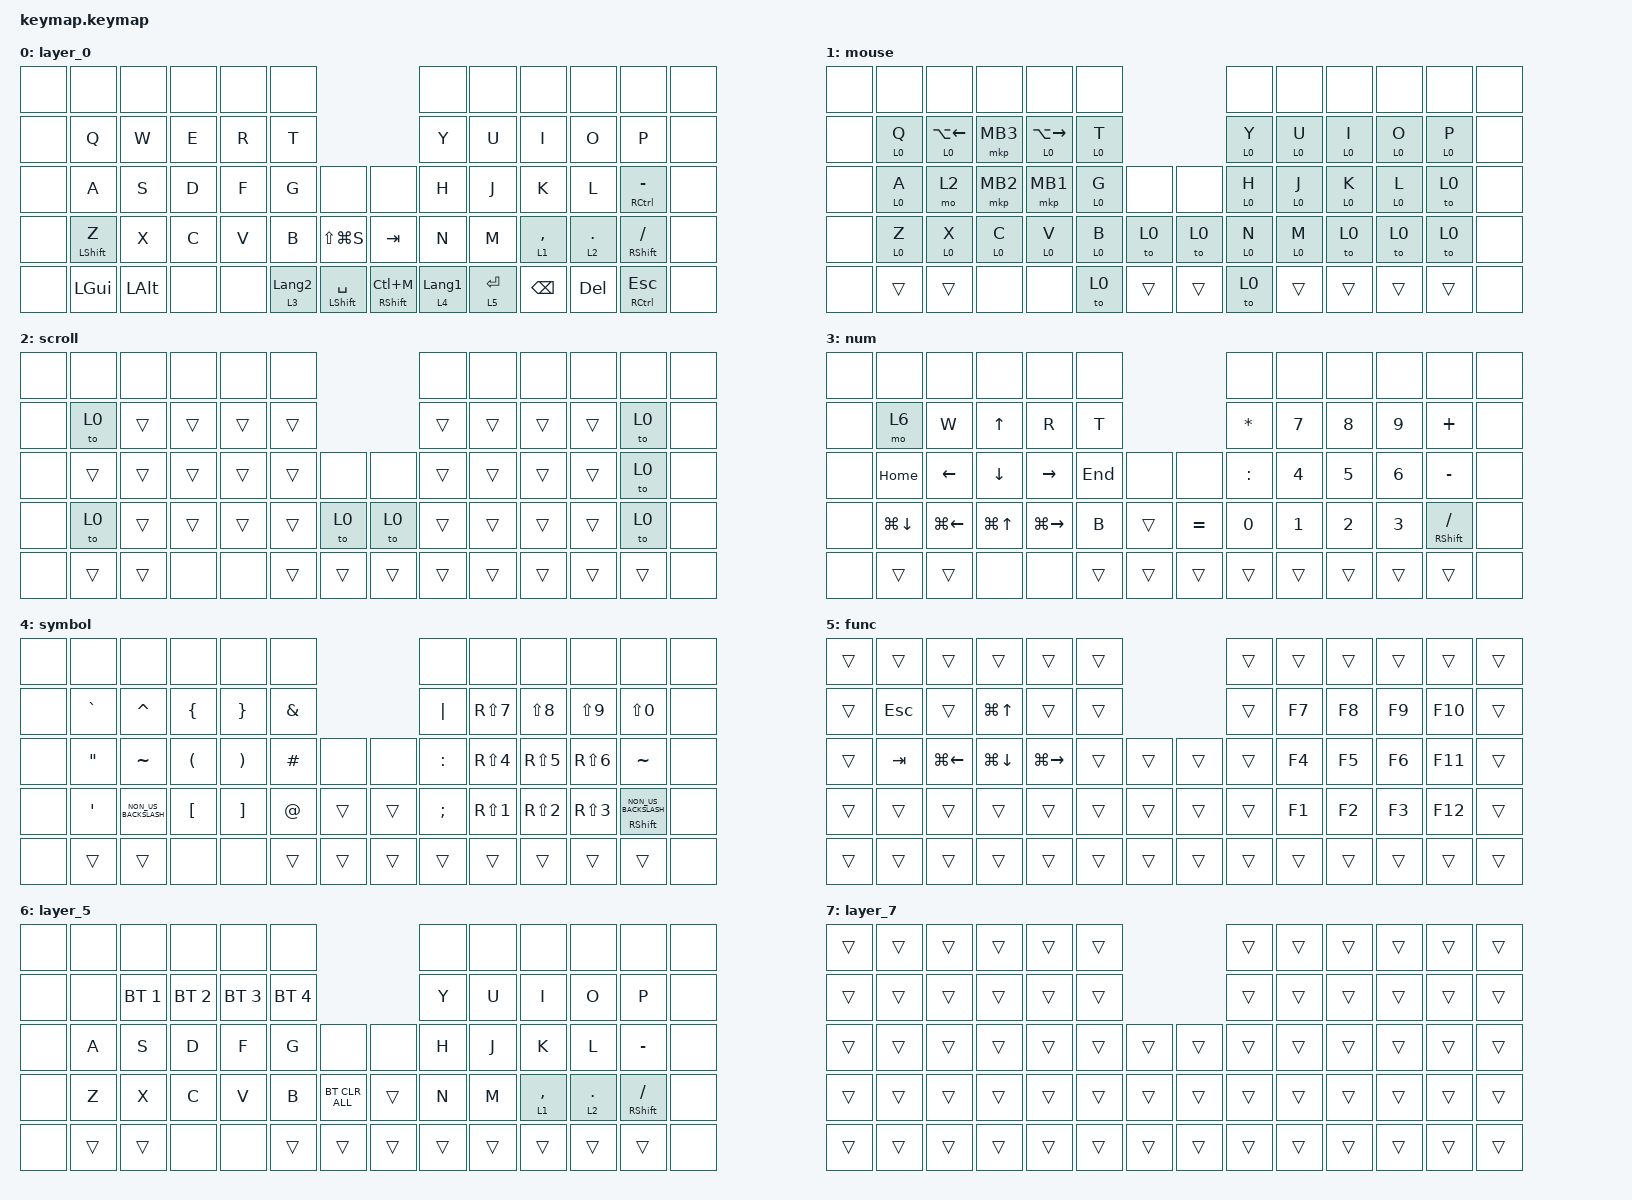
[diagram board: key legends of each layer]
#include <dt-bindings/zmk/mouse.h>
#include <input/processors.dtsi>
#include <dt-bindings/zmk/input_transform.h>
#include <zephyr/dt-bindings/input/input-event-codes.h>
#include <behaviors.dtsi>
#include <dt-bindings/zmk/bt.h>
#include <dt-bindings/zmk/keys.h>
#include <dt-bindings/zmk/outputs.h>
#include <dt-bindings/zmk/pointing.h>

&none { #input-processor-cells = <0>; };

/ {
    combos {
        compatible = "zmk,combos";
        timeout-ms = <50>;
        require-prior-idle-ms = <150>;
        slow-release;

        bt_clear {
            bindings = <&bt BT_CLR>;
            key-positions = <13 44>;
        };

        // Mouse layer combos for quick actions

        mouse_copy {
            bindings = <&kp LC(C)>;
            key-positions = <27 28>;
        };

        mouse_paste {
            bindings = <&kp LC(V)>;
            key-positions = <42 41>;
        };

        mouse_undo {
            bindings = <&kp LC(Z)>;
            key-positions = <41 40>;
        };

        mouse_redo {
            bindings = <&kp LC(Y)>;
            key-positions = <26 27>;
        };

        // Test: Simple mouse layer toggle

        mouse_layer_toggle {
            bindings = <&tog 1>;
            key-positions = <0 1>;
            layers = <0>;
        };

        // Test: Direct mouse layer access

        mouse_layer_direct {
            bindings = <&to 1>;
            key-positions = <2 3>;
            layers = <0>;
        };

        // Direct scroll layer access

        scroll_layer_direct {
            bindings = <&to 2>;
            key-positions = <2 1>;
            layers = <0>;
        };

        // Switch from mouse layer to scroll layer

        mouse_to_scroll {
            bindings = <&to 2>;
            key-positions = <30 31>;
        };

        precision_zoom {
            bindings = <&kp LC(N0)>;
            key-positions = <4 5>;
        };

        all {
            bindings = <&kp LC(A)>;
            key-positions = <15 16>;
        };

        bac {
            bindings = <&kp BACKSPACE>;
            key-positions = <36 35>;
        };

        dell {
            bindings = <&kp DELETE>;
            key-positions = <22 21>;
        };

        tab {
            bindings = <&kp TAB>;
            key-positions = <13 14>;
        };

        ctlx {
            bindings = <&kp RC(X)>;
            key-positions = <39 40>;
        };

        shift-tab {
            bindings = <&kp LS(TAB)>;
            key-positions = <13 14>;
        };

        ctls {
            bindings = <&kp RC(S)>;
            key-positions = <25 26>;
        };
    };

    // Custom behaviors for advanced mouse functionality

    behaviors {
        mouse_tp: mouse_tap {
            compatible = "zmk,behavior-tap-dance";
            #binding-cells = <0>;
            tapping-term-ms = <200>;
            bindings = <&mkp LCLK>, <&mkp LCLK>, <&mkp LCLK>;
        };

        // DPI adjustment behavior (using output selection as example)

        dpi_low: dpi_low_behavior {
            compatible = "zmk,behavior-macro";
            #binding-cells = <0>;
            wait-ms = <10>;
            tap-ms = <10>;
            bindings = <&macro_tap>, <&out OUT_USB>;
        };

        dpi_high: dpi_high_behavior {
            compatible = "zmk,behavior-macro";
            #binding-cells = <0>;
            wait-ms = <10>;
            tap-ms = <10>;
            bindings = <&macro_tap>, <&out OUT_BLE>;
        };
    };

    macros {
    };

    keymap {
        compatible = "zmk,keymap";

        layer_0 {
            bindings = <
&none  &none             &none         &none  &none  &none                                                     &none             &none        &none          &none         &none                 &none
&none  &kp Q             &kp W         &kp E  &kp R  &kp T                                                     &kp Y             &kp U        &kp I          &kp O         &kp P                 &none
&none  &kp A             &kp S         &kp D  &kp F  &kp G             &none                 &none             &kp H             &kp J        &kp K          &kp L         &mt RCTRL MINUS       &none
&none  &mt LEFT_SHIFT Z  &kp X         &kp C  &kp V  &kp B             &kp LS(LG(S))         &kp TAB           &kp N             &kp M        &lt 1 COMMA    &lt 2 PERIOD  &mt RIGHT_SHIFT FSLH  &none
&none  &kp LEFT_GUI      &kp LEFT_ALT  &none  &none  &lt 3 LANGUAGE_2  &mt LEFT_SHIFT SPACE  &mt RSHIFT LC(M)  &lt 4 LANGUAGE_1  &lt 5 ENTER  &kp BACKSPACE  &kp DEL       &mt RCTRL ESCAPE      &none
            >;
        };

        mouse {
            bindings = <
&none  &none    &none                 &none     &none                  &none                    &none    &none    &none    &none    &none    &none
&none  &lt 0 Q  &lt 0 LA(LEFT_ARROW)  &mkp MB3  &lt 0 LA(RIGHT_ARROW)  &lt 0 T                  &lt 0 Y  &lt 0 U  &lt 0 I  &lt 0 O  &lt 0 P  &none
&none  &lt 0 A  &mo 2                 &mkp MB2  &mkp MB1               &lt 0 G  &none   &none   &lt 0 H  &lt 0 J  &lt 0 K  &lt 0 L  &to 0    &none
&none  &lt 0 Z  &lt 0 X               &lt 0 C   &lt 0 V                &lt 0 B  &to 0   &to 0   &lt 0 N  &lt 0 M  &to 0    &to 0    &to 0    &none
&none  &trans   &trans                &none     &none                  &to 0    &trans  &trans  &to 0    &trans   &trans   &trans   &trans   &none
            >;
        };

        scroll {
            bindings = <
&none  &none   &none   &none   &none   &none                   &none   &none   &none   &none   &none   &none
&none  &to 0   &trans  &trans  &trans  &trans                  &trans  &trans  &trans  &trans  &to 0   &none
&none  &trans  &trans  &trans  &trans  &trans  &none   &none   &trans  &trans  &trans  &trans  &to 0   &none
&none  &to 0   &trans  &trans  &trans  &trans  &to 0   &to 0   &trans  &trans  &trans  &trans  &to 0   &none
&none  &trans  &trans  &none   &none   &trans  &trans  &trans  &trans  &trans  &trans  &trans  &trans  &none
            >;
        };

        num {
            bindings = <
&none  &none               &none               &none             &none                &none                       &none      &none   &none   &none   &none                 &none
&none  &mo 6               &kp W               &kp UP_ARROW      &kp R                &kp T                       &kp ASTRK  &kp N7  &kp N8  &kp N9  &kp PLUS              &none
&none  &kp HOME            &kp LEFT_ARROW      &kp DOWN_ARROW    &kp RIGHT_ARROW      &kp END  &none   &none      &kp COLON  &kp N4  &kp N5  &kp N6  &kp MINUS             &none
&none  &kp LG(DOWN_ARROW)  &kp LG(LEFT_ARROW)  &kp LG(UP_ARROW)  &kp LG(RIGHT_ARROW)  &kp B    &trans  &kp EQUAL  &kp N0     &kp N1  &kp N2  &kp N3  &mt RIGHT_SHIFT FSLH  &none
&none  &trans              &trans              &none             &none                &trans   &trans  &trans     &trans     &trans  &trans  &trans  &trans                &none
            >;
        };

        symbol {
            bindings = <
&none  &none              &none                 &none                 &none                  &none                          &none      &none       &none       &none       &none                             &none
&none  &kp GRAVE          &kp CARET             &kp LEFT_BRACE        &kp RIGHT_BRACE        &kp AMPERSAND                  &kp PIPE   &kp RS(N7)  &kp LS(N8)  &kp LS(N9)  &kp LS(N0)                        &none
&none  &kp DOUBLE_QUOTES  &kp TILDE             &kp LEFT_PARENTHESIS  &kp RIGHT_PARENTHESIS  &kp HASH       &none   &none   &kp COLON  &kp RS(N4)  &kp RS(N5)  &kp RS(N6)  &kp TILDE                         &none
&none  &kp SINGLE_QUOTE   &kp NON_US_BACKSLASH  &kp LBKT              &kp RBKT               &kp AT         &trans  &trans  &kp SEMI   &kp RS(N1)  &kp RS(N2)  &kp RS(N3)  &mt RIGHT_SHIFT NON_US_BACKSLASH  &none
&none  &trans             &trans                &none                 &none                  &trans         &trans  &trans  &trans     &trans      &trans      &trans      &trans                            &none
            >;
        };

        func {
            bindings = <
&trans  &trans   &trans              &trans              &trans               &trans                  &trans  &trans  &trans  &trans  &trans   &trans
&trans  &kp ESC  &trans              &kp LG(UP_ARROW)    &trans               &trans                  &trans  &kp F7  &kp F8  &kp F9  &kp F10  &trans
&trans  &kp TAB  &kp LG(LEFT_ARROW)  &kp LG(DOWN_ARROW)  &kp LG(RIGHT_ARROW)  &trans  &trans  &trans  &trans  &kp F4  &kp F5  &kp F6  &kp F11  &trans
&trans  &trans   &trans              &trans              &trans               &trans  &trans  &trans  &trans  &kp F1  &kp F2  &kp F3  &kp F12  &trans
&trans  &trans   &trans              &trans              &trans               &trans  &trans  &trans  &trans  &trans  &trans  &trans  &trans   &trans
            >;
        };

        layer_5 {
            bindings = <
&none  &none   &none         &none         &none         &none                                 &none   &none   &none        &none         &none                 &none
&none  &none   &bt BT_SEL 1  &bt BT_SEL 2  &bt BT_SEL 3  &bt BT_SEL 4                          &kp Y   &kp U   &kp I        &kp O         &kp P                 &none
&none  &kp A   &kp S         &kp D         &kp F         &kp G         &none           &none   &kp H   &kp J   &kp K        &kp L         &kp MINUS             &none
&none  &kp Z   &kp X         &kp C         &kp V         &kp B         &bt BT_CLR_ALL  &trans  &kp N   &kp M   &lt 1 COMMA  &lt 2 PERIOD  &mt RIGHT_SHIFT FSLH  &none
&none  &trans  &trans        &none         &none         &trans        &trans          &trans  &trans  &trans  &trans       &trans        &trans                &none
            >;
        };

        layer_7 {
            bindings = <
&trans  &trans  &trans  &trans  &trans  &trans                  &trans  &trans  &trans  &trans  &trans  &trans
&trans  &trans  &trans  &trans  &trans  &trans                  &trans  &trans  &trans  &trans  &trans  &trans
&trans  &trans  &trans  &trans  &trans  &trans  &trans  &trans  &trans  &trans  &trans  &trans  &trans  &trans
&trans  &trans  &trans  &trans  &trans  &trans  &trans  &trans  &trans  &trans  &trans  &trans  &trans  &trans
&trans  &trans  &trans  &trans  &trans  &trans  &trans  &trans  &trans  &trans  &trans  &trans  &trans  &trans
            >;
        };
    };
};
